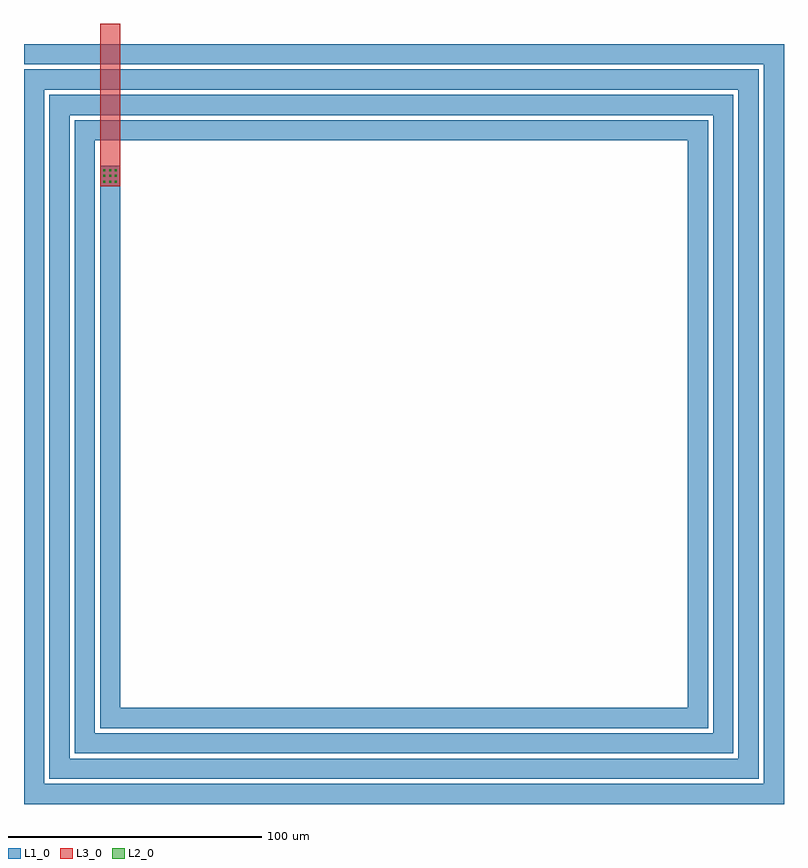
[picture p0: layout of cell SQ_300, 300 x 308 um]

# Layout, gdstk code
import gdstk
lib = gdstk.Library(unit=1e-6, precision=1e-09)
def R(c, l, rs):  # rectangles x0, y0, x1, y1
    for r in rs: c.add(gdstk.rectangle(r[:2], r[2:], *l))
def A(c, l, x, y, w, h, nx, ny, dx, dy):  # array of equal rectangles
    R(c, l, [(x+i*dx, y+j*dy, x+i*dx+w, y+j*dy+h) for i in range(nx) for j in range(ny)])
def P(c, l, *ps):  # polygons
    for p in ps: c.add(gdstk.Polygon(p, *l))
L1_0 = (1, 0)
L2_0 = (2, 0)
L3_0 = (3, 0)

sq_300 = lib.new_cell('SQ_300')
R(sq_300, L1_0, [(130,344,138,352)])
P(sq_300, L1_0, [(100,392),(100,400),(400,400),(392,392)],
  [(400,100),(392,108),(392,392),(400,400)],
  [(100,100),(108,108),(392,108),(400,100)],
  [(100,100),(100,390),(108,382),(108,108)],
  [(108,382),(100,390),(390,390),(382,382)],
  [(390,110),(382,118),(382,382),(390,390)],
  [(110,110),(118,118),(382,118),(390,110)],
  [(110,110),(110,380),(118,372),(118,118)],
  [(118,372),(110,380),(380,380),(372,372)],
  [(380,120),(372,128),(372,372),(380,380)],
  [(120,120),(128,128),(372,128),(380,120)],
  [(120,120),(120,370),(128,362),(128,128)],
  [(128,362),(120,370),(370,370),(362,362)],
  [(370,130),(362,138),(362,362),(370,370)],
  [(130,130),(138,138),(362,138),(370,130)],
  [(130,130),(130,352),(138,352),(138,138)])
A(sq_300, L2_0, 131.37, 345.37, 0.75, 0.75, 3, 3, 2.25, 2.25)
R(sq_300, L3_0, [(130,344,138,408), (130,344,138,352)])

lib.write_gds('SQ_300.gds')
